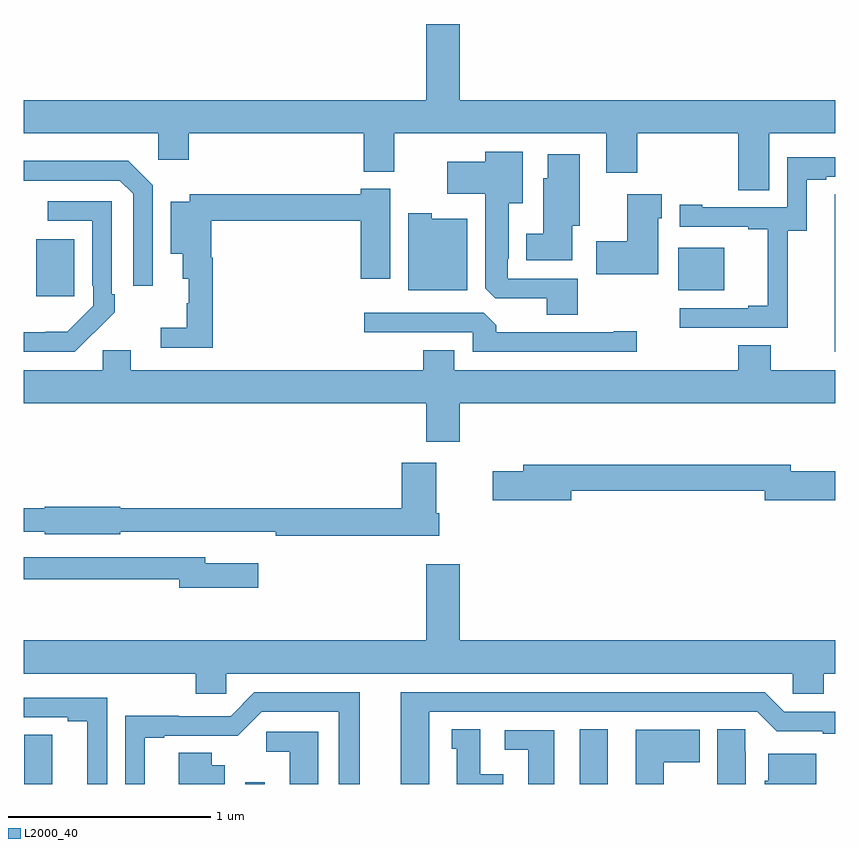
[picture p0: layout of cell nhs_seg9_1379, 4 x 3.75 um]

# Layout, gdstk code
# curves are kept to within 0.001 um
import gdstk
lib = gdstk.Library(unit=1e-6, precision=1e-09)
def R(c, l, rs):  # rectangles x0, y0, x1, y1
    for r in rs: c.add(gdstk.rectangle(r[:2], r[2:], *l))
def P(c, l, *ps):  # polygons
    for p in ps: c.add(gdstk.Polygon(p, *l))
L2000_40 = (2000, 40)

nhs_seg9_1379 = lib.new_cell('nhs_seg9_1379')
R(nhs_seg9_1379, L2000_40, [(188.091,1238.5,188.187,1238.509), (189.74,1238.5,189.88,1238.771), (187.061,1240.905,187.249,1241.185), (190.226,1240.934,190.453,1241.143)])
P(nhs_seg9_1379, L2000_40, [(190.675,1241.708),(191,1241.708),(191,1241.872),(189.148,1241.872),(189.148,1242.247),(188.984,1242.247),(188.984,1241.872),(187,1241.872),(187,1241.708),(187.662,1241.708),(187.662,1241.577),(187.814,1241.577),(187.814,1241.708),(188.675,1241.708),(188.675,1241.519),(188.827,1241.519),(188.827,1241.708),(189.872,1241.708),(189.872,1241.514),(190.025,1241.514),(190.025,1241.708),(190.523,1241.708),(190.523,1241.428),(190.675,1241.428)],
  [(189.731,1240.992),(189.387,1240.992),(189.387,1241.089),(189.391,1241.089),(189.391,1241.363),(189.46,1241.363),(189.46,1241.617),(189.275,1241.617),(189.275,1241.569),(189.087,1241.569),(189.087,1241.411),(189.275,1241.411),(189.275,1240.945),(189.324,1240.896),(189.578,1240.896),(189.578,1240.813),(189.731,1240.813)],
  [(189.703,1241.252),(189.742,1241.252),(189.742,1241.605),(189.584,1241.605),(189.584,1241.487),(189.56,1241.487),(189.56,1241.212),(189.476,1241.212),(189.476,1241.081),(189.703,1241.081)],
  [(190.767,1241.227),(190.861,1241.227),(190.861,1241.478),(190.957,1241.478),(190.957,1241.493),(191,1241.493),(191,1241.589),(190.764,1241.589),(190.764,1241.343),(190.345,1241.343),(190.345,1241.356),(190.233,1241.356),(190.233,1241.247),(190.571,1241.247),(190.571,1241.235),(190.667,1241.235),(190.667,1240.858),(190.571,1240.858),(190.571,1240.845),(190.233,1240.845),(190.233,1240.749),(190.767,1240.749)],
  [(187.635,1241.451),(187.514,1241.572),(187,1241.572),(187,1241.475),(187.473,1241.475),(187.539,1241.409),(187.539,1240.956),(187.635,1240.956)],
  [(187.931,1241.095),(187.925,1241.095),(187.925,1241.278),(188.66,1241.278),(188.66,1240.992),(188.806,1240.992),(188.806,1241.434),(188.66,1241.434),(188.66,1241.407),(187.818,1241.407),(187.818,1241.371),(187.724,1241.371),(187.724,1241.114),(187.784,1241.114),(187.784,1240.991),(187.814,1240.991),(187.814,1240.869),(187.803,1240.869),(187.803,1240.749),(187.674,1240.749),(187.674,1240.65),(187.931,1240.65)],
  [(191,1241.408),(190.998,1241.408),(190.998,1241.3),(190.997,1241.3),(190.997,1240.632),(191,1240.632)],
  [(190.129,1241.289),(190.144,1241.289),(190.144,1241.407),(189.974,1241.407),(189.974,1241.175),(189.822,1241.175),(189.822,1241.012),(190.129,1241.012)],
  [(187.343,1240.723),(187.344,1240.722),(187.449,1240.827),(187.449,1240.915),(187.434,1240.915),(187.434,1241.373),(187.119,1241.373),(187.119,1241.277),(187.338,1241.277),(187.338,1240.957),(187.341,1240.957),(187.341,1240.857),(187.213,1240.729),(187,1240.728),(187,1240.632),(187.252,1240.632)],
  [(189.187,1241.287),(189.012,1241.287),(189.012,1241.314),(188.894,1241.314),(188.894,1240.934),(189.187,1240.934)],
  [(190.021,1240.733),(189.908,1240.733),(189.908,1240.728),(189.329,1240.728),(189.329,1240.762),(189.267,1240.824),(188.679,1240.824),(188.679,1240.728),(189.213,1240.728),(189.213,1240.632),(190.021,1240.632)],
  [(189.148,1240.376),(191,1240.376),(191,1240.54),(190.683,1240.54),(190.683,1240.664),(190.523,1240.664),(190.523,1240.54),(189.121,1240.54),(189.121,1240.639),(188.969,1240.639),(188.969,1240.54),(187.528,1240.54),(187.528,1240.638),(187.389,1240.638),(187.389,1240.54),(187,1240.54),(187,1240.376),(188.984,1240.376),(188.984,1240.188),(189.148,1240.188)],
  [(189.047,1239.835),(189.034,1239.835),(189.034,1240.084),(188.864,1240.084),(188.864,1239.86),(187.476,1239.86),(187.476,1239.866),(187.104,1239.866),(187.104,1239.86),(187,1239.86),(187,1239.744),(187.104,1239.744),(187.104,1239.731),(187.476,1239.731),(187.476,1239.744),(187.99,1239.744),(187.99,1239.743),(188.242,1239.743),(188.242,1239.724),(189.047,1239.724)],
  [(189.7,1239.946),(190.652,1239.946),(190.652,1239.899),(191,1239.899),(191,1240.041),(190.78,1240.041),(190.78,1240.075),(189.461,1240.075),(189.461,1240.041),(189.312,1240.041),(189.312,1239.899),(189.7,1239.899)],
  [(188.155,1239.589),(187.894,1239.589),(187.894,1239.618),(187,1239.618),(187,1239.51),(187.766,1239.51),(187.766,1239.467),(188.155,1239.467)],
  [(187.998,1239.044),(190.791,1239.044),(190.791,1238.946),(190.943,1238.946),(190.943,1239.044),(191,1239.044),(191,1239.208),(189.148,1239.208),(189.148,1239.583),(188.984,1239.583),(188.984,1239.208),(187,1239.208),(187,1239.044),(187.847,1239.044),(187.847,1238.946),(187.998,1238.946)],
  [(188.998,1238.856),(190.617,1238.856),(190.713,1238.76),(190.94,1238.76),(190.94,1238.748),(191,1238.748),(191,1238.856),(190.749,1238.856),(190.653,1238.952),(188.858,1238.952),(188.858,1238.5),(188.998,1238.5)],
  [(187.597,1238.727),(187.693,1238.727),(187.693,1238.739),(188.054,1238.738),(188.172,1238.856),(188.552,1238.856),(188.552,1238.5),(188.656,1238.5),(188.656,1238.952),(188.136,1238.952),(188.019,1238.835),(187.763,1238.835),(187.763,1238.837),(187.5,1238.837),(187.5,1238.5),(187.597,1238.5)],
  [(187.41,1238.925),(187,1238.925),(187,1238.829),(187.217,1238.829),(187.217,1238.809),(187.313,1238.809),(187.313,1238.5),(187.41,1238.5)],
  [(189.364,1238.548),(189.25,1238.548),(189.25,1238.771),(189.11,1238.771),(189.11,1238.673),(189.134,1238.673),(189.134,1238.5),(189.364,1238.5)],
  [(190.558,1238.66),(190.557,1238.66),(190.557,1238.771),(190.418,1238.771),(190.418,1238.5),(190.558,1238.5)],
  [(190.156,1238.608),(190.333,1238.608),(190.333,1238.767),(190.016,1238.767),(190.016,1238.5),(190.156,1238.5)],
  [(189.616,1238.766),(189.372,1238.766),(189.372,1238.67),(189.488,1238.67),(189.488,1238.5),(189.616,1238.5)],
  [(188.452,1238.757),(188.196,1238.757),(188.196,1238.66),(188.312,1238.66),(188.312,1238.5),(188.452,1238.5)],
  [(187.141,1238.744),(187.002,1238.744),(187.002,1238.636),(187.001,1238.636),(187.001,1238.5),(187.141,1238.5)],
  [(187.99,1238.593),(187.927,1238.593),(187.927,1238.654),(187.763,1238.654),(187.763,1238.5),(187.99,1238.5)],
  [(190.906,1238.65),(190.67,1238.65),(190.67,1238.517),(190.652,1238.517),(190.652,1238.5),(190.906,1238.5)])

lib.write_gds('nhs_seg9_1379.gds')
